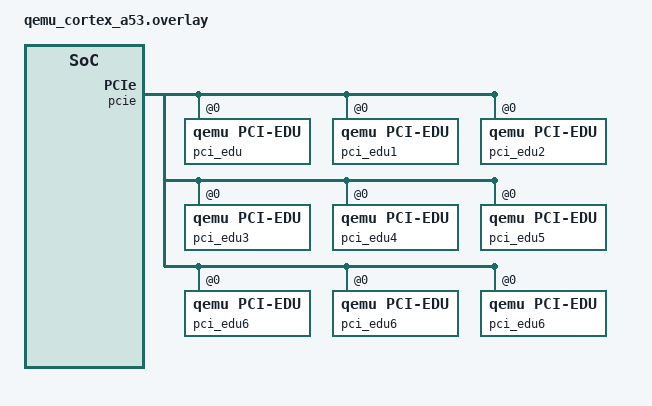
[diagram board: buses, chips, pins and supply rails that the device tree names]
/*
 * Copyright (c) 2021 BayLibre, SAS
 *
 * SPDX-License-Identifier: Apache-2.0
 *
 */

#include <dt-bindings/pcie/pcie.h>

/ {
	chosen {
		zephyr,pcie-controller = &pcie;
	};

	soc {
		pcie: pcie@4010000000 {
			compatible = "pci-host-ecam-generic";
			#address-cells = <3>;
			#size-cells = <2>;
			reg = <0x40 0x10000000 0x0 0x10000000>;
			ranges = <0x1000000 0 0 0 0x3eff0000 0 0x10000>,
				 <0x2000000 0 0x10000000 0 0x10000000 0 0x2eff0000>,
				 <0x3000000 0x80 0 0x80 0 0x80 0>;
			msi-parent = <&its>;
			label = "PCIE";

			pci_edu: test@1000 {
				compatible = "qemu,pci-edu";
				reg = <0x0 0x0 PCIE_BDF(0,0x02,0) 0x0 PCIE_ID(0x1234,0x11e8)>;
				label = "pci_edu";
				status = "okay";
			};

			pci_edu1: test@10000 {
				compatible = "qemu,pci-edu";
				reg = <0x0 0x0 PCIE_BDF(1,0,0) 0x0 PCIE_ID(0x1234,0x11e8)>;
				label = "pci_edu1";
				status = "okay";
			};

			pci_edu2: test@20000 {
				compatible = "qemu,pci-edu";
				reg = <0x0 0x0 PCIE_BDF(2,0,0) 0x0 PCIE_ID(0x1234,0x11e8)>;
				label = "pci_edu2";
				status = "okay";
			};

			pci_edu3: test@30000 {
				compatible = "qemu,pci-edu";
				reg = <0x0 0x0 PCIE_BDF(3,0,0) 0x0 PCIE_ID(0x1234,0x11e8)>;
				label = "pci_edu3";
				status = "okay";
			};

			pci_edu4: test@40000 {
				compatible = "qemu,pci-edu";
				reg = <0x0 0x0 PCIE_BDF(4,0,0) 0x0 PCIE_ID(0x1234,0x11e8)>;
				label = "pci_edu4";
				status = "okay";
			};

			pci_edu5: test@50000 {
				compatible = "qemu,pci-edu";
				reg = <0x0 0x0 PCIE_BDF(5,0,0) 0x0 PCIE_ID(0x1234,0x11e8)>;
				label = "pci_edu5";
				status = "okay";
			};

			pci_edu6: test@60000 {
				compatible = "qemu,pci-edu";
				reg = <0x0 0x0 PCIE_BDF(6,0,0) 0x0 PCIE_ID(0x1234,0x11e8)>;
				label = "pci_edu6";
				status = "okay";
			};

			pci_edu7: test@80000 {
				compatible = "qemu,pci-edu";
				reg = <0x0 0x0 PCIE_BDF(8,0,0) 0x0 PCIE_ID(0x1234,0x11e8)>;
				label = "pci_edu6";
				status = "okay";
			};

			pci_edu8: test@90000 {
				compatible = "qemu,pci-edu";
				reg = <0x0 0x0 PCIE_BDF(9,0,0) 0x0 PCIE_ID(0x1234,0x11e8)>;
				label = "pci_edu6";
				status = "okay";
			};
		};
	};
};
